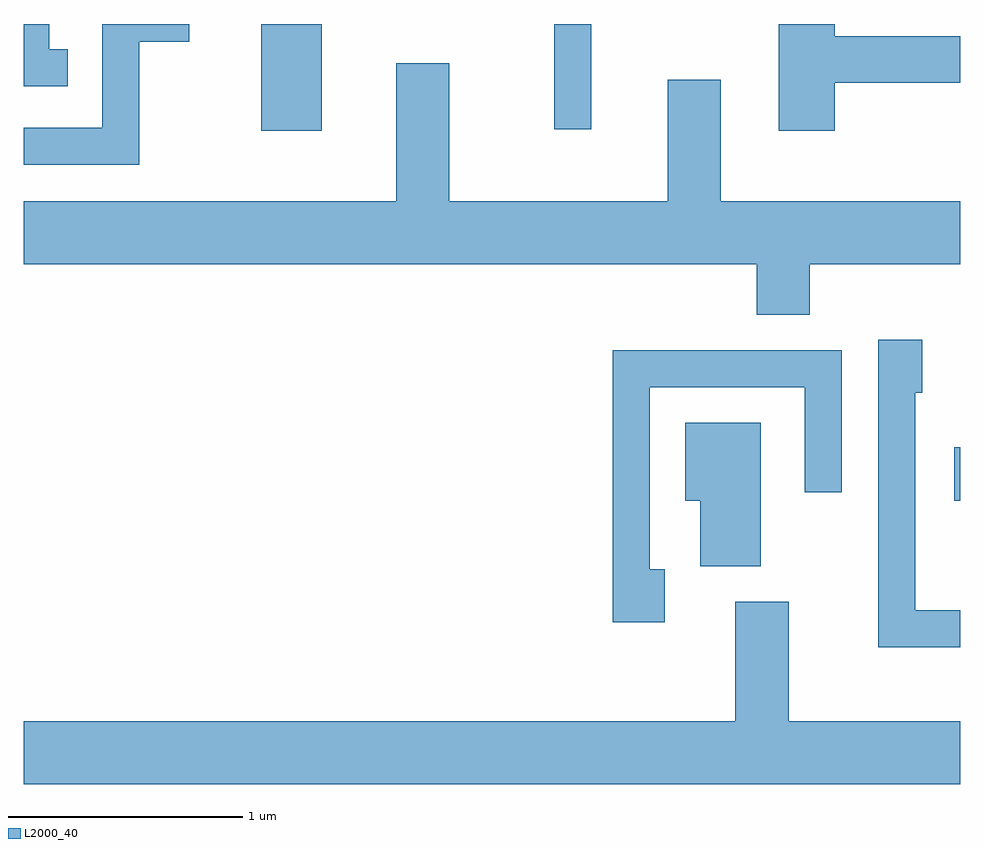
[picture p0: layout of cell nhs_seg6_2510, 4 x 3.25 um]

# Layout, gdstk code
import gdstk
lib = gdstk.Library(unit=1e-6, precision=1e-09)
def R(c, l, rs):  # rectangles x0, y0, x1, y1
    for r in rs: c.add(gdstk.rectangle(r[:2], r[2:], *l))
def P(c, l, *ps):  # polygons
    for p in ps: c.add(gdstk.Polygon(p, *l))
L2000_40 = (2000, 40)

nhs_seg6_2510 = lib.new_cell('nhs_seg6_2510')
R(nhs_seg6_2510, L2000_40, [(265.586,1560.126,265.611,1560.354), (262.626,1561.706,262.884,1562.162), (263.876,1561.713,264.034,1562.162)])
P(nhs_seg6_2510, L2000_40, [(261.798,1562.054),(261.719,1562.054),(261.719,1562.162),(261.611,1562.162),(261.611,1561.896),(261.798,1561.896)],
  [(265.074,1561.911),(265.611,1561.911),(265.611,1562.109),(265.074,1562.109),(265.074,1562.162),(264.836,1562.162),(264.836,1561.706),(265.074,1561.706)],
  [(262.104,1562.086),(262.319,1562.086),(262.319,1562.162),(261.946,1562.162),(261.946,1561.719),(261.611,1561.719),(261.611,1561.561),(262.104,1561.561)],
  [(264.969,1561.136),(265.611,1561.136),(265.611,1561.404),(264.589,1561.404),(264.589,1561.924),(264.361,1561.924),(264.361,1561.404),(263.429,1561.404),(263.429,1561.994),(263.201,1561.994),(263.201,1561.404),(261.611,1561.404),(261.611,1561.136),(264.741,1561.136),(264.741,1560.921),(264.969,1560.921)],
  [(265.611,1559.659),(265.419,1559.659),(265.419,1560.586),(265.449,1560.586),(265.449,1560.814),(265.261,1560.814),(265.261,1559.501),(265.611,1559.501)],
  [(264.349,1559.834),(264.284,1559.834),(264.284,1560.611),(264.946,1560.611),(264.946,1560.163),(265.104,1560.163),(265.104,1560.769),(264.126,1560.769),(264.126,1559.606),(264.349,1559.606)],
  [(264.759,1560.459),(264.436,1560.459),(264.436,1560.126),(264.501,1560.126),(264.501,1559.846),(264.759,1559.846)],
  [(265.611,1559.184),(264.879,1559.184),(264.879,1559.694),(264.651,1559.694),(264.651,1559.184),(261.611,1559.184),(261.611,1558.916),(265.611,1558.916)])

lib.write_gds('nhs_seg6_2510.gds')
